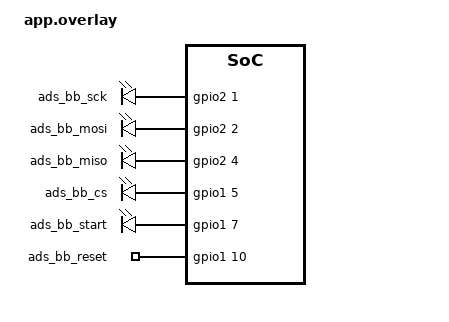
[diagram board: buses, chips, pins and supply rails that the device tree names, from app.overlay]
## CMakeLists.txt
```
cmake_minimum_required(VERSION 3.20.0)
find_package(Zephyr REQUIRED HINTS $ENV{ZEPHYR_BASE})
project(ads1292r_bitbang_id_test)

target_sources(app PRIVATE src/main.c)
```

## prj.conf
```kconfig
CONFIG_GPIO=y
CONFIG_PRINTK=y
CONFIG_SERIAL=y
CONFIG_CONSOLE=y
CONFIG_UART_CONSOLE=y
```

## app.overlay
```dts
#include <zephyr/dt-bindings/gpio/gpio.h>

&gpio1 { status = "okay"; };
&gpio2 { status = "okay"; };
&gpiote20 { status = "okay"; };

/ {
    ads_bitbang_pins: ads-bitbang-pins {
        compatible = "gpio-leds";
        ads_bb_sck: ads-bb-sck { gpios = <&gpio2 1 GPIO_ACTIVE_HIGH>; };
        ads_bb_mosi: ads-bb-mosi { gpios = <&gpio2 2 GPIO_ACTIVE_HIGH>; };
        ads_bb_miso: ads-bb-miso { gpios = <&gpio2 4 GPIO_ACTIVE_HIGH>; };
        ads_bb_cs: ads-bb-cs { gpios = <&gpio1 5 GPIO_ACTIVE_HIGH>; };
        ads_bb_start: ads-bb-start { gpios = <&gpio1 7 GPIO_ACTIVE_HIGH>; };
        ads_bb_reset: ads-bb-reset { gpios = <&gpio1 10 GPIO_ACTIVE_HIGH>; };
    };

    aliases {
        ads-bb-sck = &ads_bb_sck;
        ads-bb-mosi = &ads_bb_mosi;
        ads-bb-miso = &ads_bb_miso;
        ads-bb-cs = &ads_bb_cs;
        ads-bb-start = &ads_bb_start;
        ads-bb-reset = &ads_bb_reset;
    };
};
```

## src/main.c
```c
#include <zephyr/kernel.h>
#include <zephyr/drivers/gpio.h>

#define BB_SCK_NODE   DT_ALIAS(ads_bb_sck)
#define BB_MOSI_NODE  DT_ALIAS(ads_bb_mosi)
#define BB_MISO_NODE  DT_ALIAS(ads_bb_miso)
#define BB_CS_NODE    DT_ALIAS(ads_bb_cs)
#define BB_START_NODE DT_ALIAS(ads_bb_start)
#define BB_RESET_NODE DT_ALIAS(ads_bb_reset)

#if !DT_NODE_HAS_STATUS(BB_SCK_NODE, okay) || !DT_NODE_HAS_STATUS(BB_MOSI_NODE, okay) || \
    !DT_NODE_HAS_STATUS(BB_MISO_NODE, okay) || !DT_NODE_HAS_STATUS(BB_CS_NODE, okay) || \
    !DT_NODE_HAS_STATUS(BB_START_NODE, okay) || !DT_NODE_HAS_STATUS(BB_RESET_NODE, okay)
#error "ADS1292R bitbang example requires ads-bb-* aliases in the active overlay"
#endif

#define BB_SCK_PORT_NODE   DT_GPIO_CTLR(BB_SCK_NODE, gpios)
#define BB_SCK_PIN         DT_GPIO_PIN(BB_SCK_NODE, gpios)
#define BB_MOSI_PORT_NODE  DT_GPIO_CTLR(BB_MOSI_NODE, gpios)
#define BB_MOSI_PIN        DT_GPIO_PIN(BB_MOSI_NODE, gpios)
#define BB_MISO_PORT_NODE  DT_GPIO_CTLR(BB_MISO_NODE, gpios)
#define BB_MISO_PIN        DT_GPIO_PIN(BB_MISO_NODE, gpios)
#define BB_CS_PORT_NODE    DT_GPIO_CTLR(BB_CS_NODE, gpios)
#define BB_CS_PIN          DT_GPIO_PIN(BB_CS_NODE, gpios)
#define BB_START_PORT_NODE DT_GPIO_CTLR(BB_START_NODE, gpios)
#define BB_START_PIN       DT_GPIO_PIN(BB_START_NODE, gpios)
#define BB_RESET_PORT_NODE DT_GPIO_CTLR(BB_RESET_NODE, gpios)
#define BB_RESET_PIN       DT_GPIO_PIN(BB_RESET_NODE, gpios)

#define BB_SCK_PORT_NAME   DT_NODE_FULL_NAME(BB_SCK_PORT_NODE)
#define BB_MOSI_PORT_NAME  DT_NODE_FULL_NAME(BB_MOSI_PORT_NODE)
#define BB_MISO_PORT_NAME  DT_NODE_FULL_NAME(BB_MISO_PORT_NODE)
#define BB_CS_PORT_NAME    DT_NODE_FULL_NAME(BB_CS_PORT_NODE)
#define BB_START_PORT_NAME DT_NODE_FULL_NAME(BB_START_PORT_NODE)
#define BB_RESET_PORT_NAME DT_NODE_FULL_NAME(BB_RESET_PORT_NODE)

static const struct device *const bb_sck = DEVICE_DT_GET(BB_SCK_PORT_NODE);
static const struct device *const bb_mosi = DEVICE_DT_GET(BB_MOSI_PORT_NODE);
static const struct device *const bb_miso = DEVICE_DT_GET(BB_MISO_PORT_NODE);
static const struct device *const bb_cs = DEVICE_DT_GET(BB_CS_PORT_NODE);
static const struct device *const bb_start = DEVICE_DT_GET(BB_START_PORT_NODE);
static const struct device *const bb_reset = DEVICE_DT_GET(BB_RESET_PORT_NODE);

static void bb_transfer_byte(uint8_t tx, uint8_t *sample_high, uint8_t *sample_low)
{
    uint8_t high = 0;
    uint8_t low = 0;

    for (int bit = 7; bit >= 0; --bit) {
        gpio_pin_set(bb_mosi, BB_MOSI_PIN, (tx >> bit) & 1);
        k_busy_wait(100);

        gpio_pin_set(bb_sck, BB_SCK_PIN, 1);
        k_busy_wait(100);
        high = (high << 1) | (gpio_pin_get(bb_miso, BB_MISO_PIN) ? 1 : 0);

        gpio_pin_set(bb_sck, BB_SCK_PIN, 0);
        k_busy_wait(100);
        low = (low << 1) | (gpio_pin_get(bb_miso, BB_MISO_PIN) ? 1 : 0);
    }

    *sample_high = high;
    *sample_low = low;
}

static void bb_send_command(uint8_t command)
{
    gpio_pin_set(bb_cs, BB_CS_PIN, 0);
    k_busy_wait(100);
    uint8_t ignored_high, ignored_low;
    bb_transfer_byte(command, &ignored_high, &ignored_low);
    k_busy_wait(100);
    gpio_pin_set(bb_cs, BB_CS_PIN, 1);
    k_sleep(K_MSEC(5));
}

static void ads1292r_bitbang_id_test(void)
{
    printk("ADS1292R bitbang test: slow GPIO SPI, reading ID only\n");
    printk("ADS1292R bitbang pins: SCK %s.%u MOSI %s.%u MISO %s.%u CS %s.%u START %s.%u /PWDN %s.%u\n",
           BB_SCK_PORT_NAME, BB_SCK_PIN,
           BB_MOSI_PORT_NAME, BB_MOSI_PIN,
           BB_MISO_PORT_NAME, BB_MISO_PIN,
           BB_CS_PORT_NAME, BB_CS_PIN,
           BB_START_PORT_NAME, BB_START_PIN,
           BB_RESET_PORT_NAME, BB_RESET_PIN);

    if (!device_is_ready(bb_sck) || !device_is_ready(bb_mosi) ||
        !device_is_ready(bb_miso) || !device_is_ready(bb_cs) ||
        !device_is_ready(bb_start) || !device_is_ready(bb_reset)) {
        printk("ADS1292R bitbang test: GPIO device not ready\n");
        return;
    }

    gpio_pin_configure(bb_sck, BB_SCK_PIN, GPIO_OUTPUT_INACTIVE);
    gpio_pin_configure(bb_mosi, BB_MOSI_PIN, GPIO_OUTPUT_INACTIVE);
    gpio_pin_configure(bb_miso, BB_MISO_PIN, GPIO_INPUT | GPIO_PULL_UP);
    gpio_pin_configure(bb_cs, BB_CS_PIN, GPIO_OUTPUT_ACTIVE);
    gpio_pin_configure(bb_start, BB_START_PIN, GPIO_OUTPUT_INACTIVE);
    gpio_pin_configure(bb_reset, BB_RESET_PIN, GPIO_OUTPUT_INACTIVE);

    printk("ADS1292R bitbang test: XIAO-style /PWDN reset pulse\n");
    gpio_pin_set(bb_start, BB_START_PIN, 0);
    gpio_pin_set(bb_cs, BB_CS_PIN, 1);
    gpio_pin_set(bb_sck, BB_SCK_PIN, 0);
    gpio_pin_set(bb_mosi, BB_MOSI_PIN, 0);
    gpio_pin_set(bb_reset, BB_RESET_PIN, 0);
    k_sleep(K_MSEC(100));
    gpio_pin_set(bb_reset, BB_RESET_PIN, 1);
    k_sleep(K_SECONDS(1));

    printk("ADS1292R bitbang test: START low, sending SDATAC\n");
    gpio_pin_set(bb_start, BB_START_PIN, 0);
    k_sleep(K_MSEC(100));
    bb_send_command(0x11); /* SDATAC */

    while (1) {
        uint8_t h0, h1, h2;
        uint8_t l0, l1, l2;

        gpio_pin_set(bb_start, BB_START_PIN, 0);
        gpio_pin_set(bb_cs, BB_CS_PIN, 0);
        k_sleep(K_MSEC(2));
        bb_transfer_byte(0x20, &h0, &l0); /* RREG 0 */
        k_sleep(K_MSEC(2));
        bb_transfer_byte(0x00, &h1, &l1); /* one register */
        k_sleep(K_MSEC(2));
        bb_transfer_byte(0x00, &h2, &l2); /* read data */
        k_sleep(K_MSEC(2));
        gpio_pin_set(bb_cs, BB_CS_PIN, 1);

        printk("ADS1292R bitbang RX high-phase: %02x %02x %02x; low-phase: %02x %02x %02x\n",
               h0, h1, h2, l0, l1, l2);
        k_sleep(K_SECONDS(1));
    }
}

int main(void)
{
    printk("ADS1292R firmware build: bitbang-id-test v4\n");
    ads1292r_bitbang_id_test();
    return 0;
}
```
